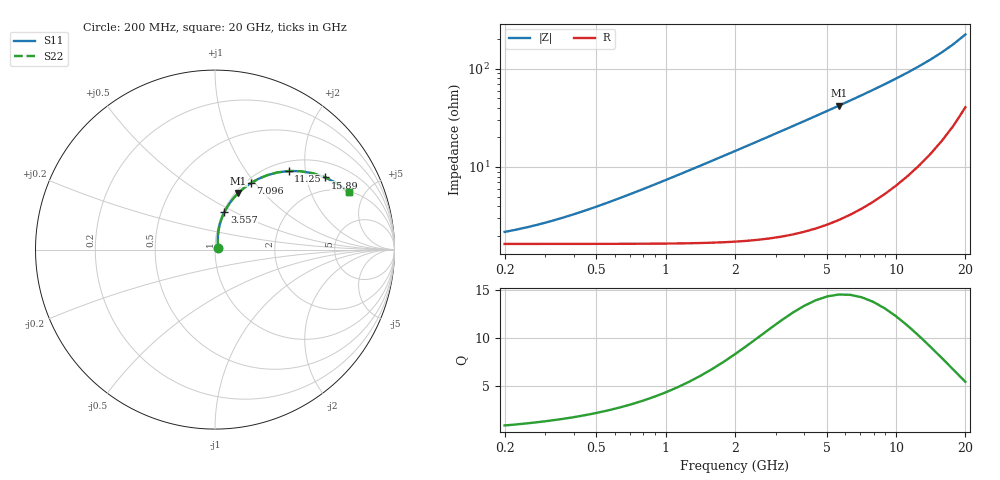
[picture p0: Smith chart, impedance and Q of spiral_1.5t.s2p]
# GHz S RI R 50
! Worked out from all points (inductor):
!   41 points, 200 MHz to 20 GHz, reference 50 ohm
!   read as 1/Y11, port 2 shorted: L = 1.14 nH near 709.6 MHz
!   highest Q = 14.5 at 5.637 GHz (marker M1), where L = 1.18 nH
!   S11 on the Smith chart (normalised r, x): 200 MHz: 1.03, +0.02; 3.557 GHz: 1.01, +0.44; 7.096 GHz: 1.06, +0.95; 11.25 GHz: 1.19, +1.62; 15.89 GHz: 1.48, +2.59; 20 GHz: 2.04, +3.82
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0.2  0.0162 0.0104  0.9833 -0.0174  0.9833 -0.0174  0.0162 0.0104
0.5636766  0.0158 0.0296  0.9802 -0.0486  0.9802 -0.0486  0.0158 0.0296
0.7962143  0.0156 0.0423  0.9769 -0.0679  0.9769 -0.0679  0.0156 0.0423
1.002374  0.0156 0.054  0.9732 -0.0846  0.9732 -0.0846  0.0156 0.054
1.124683  0.0158 0.061  0.9707 -0.0943  0.9707 -0.0943  0.0158 0.061
1.415892  0.0165 0.0783  0.9642 -0.1167  0.9642 -0.1167  0.0165 0.0783
1.782502  0.0188 0.1007  0.9548 -0.1436  0.9548 -0.1436  0.0188 0.1007
2.244037  0.0239 0.1294  0.9416 -0.1758  0.9416 -0.1758  0.0239 0.1294
2.825075  0.034 0.1654  0.9231 -0.2138  0.9231 -0.2138  0.034 0.1654
3.556559  0.0523 0.2091  0.8972 -0.2586  0.8972 -0.2586  0.0523 0.2091
3.990525  0.0657 0.2337  0.8804 -0.2835  0.8804 -0.2835  0.0657 0.2337
4.477442  0.0826 0.2598  0.8604 -0.3099  0.8604 -0.3099  0.0826 0.2598
5.636766  0.1297 0.3151  0.8082 -0.3664  0.8082 -0.3664  0.1297 0.3151
7.096268  0.1984 0.3698  0.7358 -0.4236  0.7358 -0.4236  0.1984 0.3698
8.933672  0.2922 0.4149  0.6392 -0.4732  0.6392 -0.4732  0.2922 0.4149
10.02374  0.3486 0.4301  0.5816 -0.4915  0.5816 -0.4915  0.3486 0.4301
11.24683  0.4105 0.4379  0.5187 -0.5033  0.5187 -0.5033  0.4105 0.4379
12.61915  0.4768 0.4368  0.4515 -0.507  0.4515 -0.507  0.4768 0.4368
14.15892  0.5456 0.4252  0.3818 -0.501  0.3818 -0.501  0.5456 0.4252
15.88656  0.6149 0.4022  0.3116 -0.4845  0.3116 -0.4845  0.6149 0.4022
17.82502  0.6821 0.3671  0.2433 -0.4571  0.2433 -0.4571  0.6821 0.3671
20  0.7449 0.3202  0.1794 -0.419  0.1794 -0.419  0.7449 0.3202
